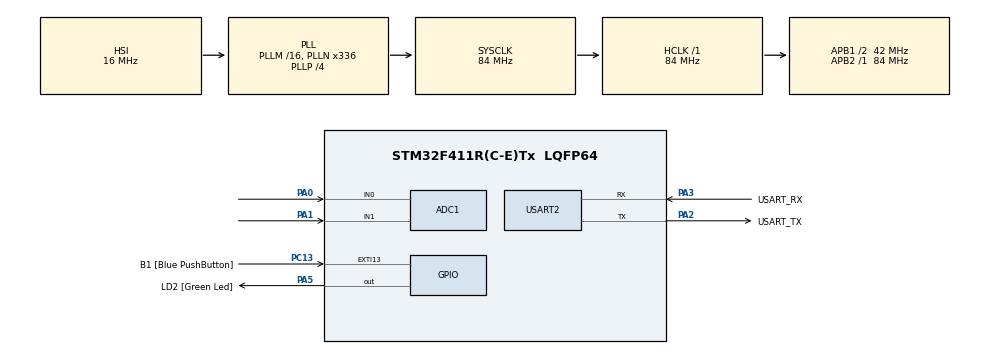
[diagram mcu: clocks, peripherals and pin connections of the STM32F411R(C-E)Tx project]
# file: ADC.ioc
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ADC1.Channel-0\#ChannelRegularConversion=ADC_CHANNEL_0
ADC1.NbrOfConversionFlag=1
ADC1.Rank-0\#ChannelRegularConversion=1
ADC1.SamplingTime-0\#ChannelRegularConversion=ADC_SAMPLETIME_3CYCLES
ADC1.master=1
Mcu.Family=STM32F4
Mcu.Name=STM32F411R(C-E)Tx
Mcu.Package=LQFP64
NVIC.PriorityGroup=NVIC_PRIORITYGROUP_0
PA0-WKUP.Signal=ADCx_IN0
PA1.Signal=ADCx_IN1
PA13.GPIO_Label=TMS
PA13.Mode=Serial_Wire
PA13.Signal=SYS_JTMS-SWDIO
PA14.GPIO_Label=TCK
PA14.Mode=Serial_Wire
PA14.Signal=SYS_JTCK-SWCLK
PA2.GPIO_Label=USART_TX
PA2.Mode=Asynchronous
PA2.Signal=USART2_TX
PA3.GPIO_Label=USART_RX
PA3.Mode=Asynchronous
PA3.Signal=USART2_RX
PA5.GPIO_Label=LD2 [Green Led]
PA5.Signal=GPIO_Output
PB3.GPIO_Label=SWO
PB3.Signal=SYS_JTDO-SWO
PC13-ANTI_TAMP.GPIO_Label=B1 [Blue PushButton]
PC13-ANTI_TAMP.GPIO_ModeDefaultEXTI=GPIO_MODE_IT_FALLING
PC13-ANTI_TAMP.Signal=GPXTI13
PC14-OSC32_IN.Mode=LSE-External-Oscillator
PC14-OSC32_IN.Signal=RCC_OSC32_IN
PC15-OSC32_OUT.Mode=LSE-External-Oscillator
PC15-OSC32_OUT.Signal=RCC_OSC32_OUT
PH0\ -\ OSC_IN.Mode=HSE-External-Clock-Source
PH0\ -\ OSC_IN.Signal=RCC_OSC_IN
PH1\ -\ OSC_OUT.Mode=HSE-External-Clock-Source
PH1\ -\ OSC_OUT.Signal=RCC_OSC_OUT
ProjectManager.HeapSize=0x200
ProjectManager.StackSize=0x400
ProjectManager.TargetToolchain=STM32CubeIDE
RCC.48MHZClocksFreq_Value=84000000
RCC.AHBFreq_Value=84000000
RCC.APB1CLKDivider=RCC_HCLK_DIV2
RCC.APB1Freq_Value=42000000
RCC.APB1TimFreq_Value=84000000
RCC.APB2Freq_Value=84000000
RCC.APB2TimFreq_Value=84000000
RCC.CortexFreq_Value=84000000
RCC.FLatency-AdvancedSettings=FLASH_LATENCY_2
RCC.HCLKFreq_Value=84000000
RCC.HSE_VALUE=8000000
RCC.HSI_VALUE=16000000
RCC.PLLN=336
RCC.PLLP=RCC_PLLP_DIV4
RCC.SYSCLKFreq_VALUE=84000000
RCC.SYSCLKSource=RCC_SYSCLKSOURCE_PLLCLK
RCC.VCOOutputFreq_Value=336000000
SH.ADCx_IN0.0=ADC1_IN0,IN0
SH.ADCx_IN1.0=ADC1_IN1,IN1
USART2.VirtualMode=VM_ASYNC
VP_ADC1_TempSens_Input.Mode=IN-TempSens
board=NUCLEO-F411RE

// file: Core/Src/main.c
/* USER CODE BEGIN Header */
/**
 ******************************************************************************
 * @file           : main.c
 * @brief          : Main program body
 ******************************************************************************
 * @attention
 *
 * <h2><center>&copy; Copyright (c) 2021 STMicroelectronics.
 * All rights reserved.</center></h2>
 *
 * This software component is licensed by ST under BSD 3-Clause license,
 * the "License"; You may not use this file except in compliance with the
 * License. You may obtain a copy of the License at:
 *                        opensource.org/licenses/BSD-3-Clause
 *
 ******************************************************************************
 */
/* USER CODE END Header */
#include "main.h"

ADC_HandleTypeDef hadc1;

UART_HandleTypeDef huart2;

/* USER CODE BEGIN PV */
uint32_t adcdata[2] = { 0 };
GPIO_PinState S1_State[2] = {0};
uint16_t ADCMode = 0;
float ADCOutputConverted = 0;
uint16_t ButtonDelayTime = 0;
uint16_t StateDisplay = 0;
float TempConvertedBitToVol = 0;

enum STATEDISPLAY{
	Mode0 = 0,
	Mode1,

};

typedef struct {
	ADC_ChannelConfTypeDef Config;
	uint16_t data;
} ADCStructure;

ADCStructure ADCChannel[3] = { 0 };

/* USER CODE END PV */

void SystemClock_Config(void);
static void MX_GPIO_Init(void);
static void MX_USART2_UART_Init(void);
static void MX_ADC1_Init(void);
/* USER CODE BEGIN PFP */
void ADCPollingMethodInit();
void ADCPollingMethodUpdate();
/* USER CODE END PFP */

int main(void) {

	/* MCU Configuration--------------------------------------------------------*/

	/* Reset of all peripherals, Initializes the Flash interface and the Systick. */
	HAL_Init();

	/* Configure the system clock */
	SystemClock_Config();

	/* Initialize all configured peripherals */
	MX_GPIO_Init();
	MX_USART2_UART_Init();
	MX_ADC1_Init();
	/* USER CODE BEGIN 2 */
	ADCPollingMethodInit();

	/* USER CODE END 2 */

	/* Infinite loop */
	while (1) {

		/* USER CODE BEGIN 3 */
		if (HAL_GetTick() - ButtonDelayTime >= 100)
		{
			ButtonDelayTime = HAL_GetTick();
			S1_State[0] = HAL_GPIO_ReadPin(GPIOA, GPIO_PIN_9);
			switch (StateDisplay) {
				case Mode0:
					ADCOutputConverted = (3.3/4096)*ADCChannel[0].data*1000;
					if (S1_State[1] == GPIO_PIN_SET && S1_State[0]== GPIO_PIN_RESET)
					{
						StateDisplay = Mode1;
					}

					break;
				case Mode1:
					TempConvertedBitToVol = (3.3/4096)*ADCChannel[2].data*1000;
					if (S1_State[1] == GPIO_PIN_SET && S1_State[0]== GPIO_PIN_RESET)
					{
						StateDisplay = Mode0;
					}
					ADCOutputConverted = ((TempConvertedBitToVol-760)/2.5)+25;
					break;
				default:
					break;
				}
				  S1_State[1] = S1_State[0];
			  }
		ADCPollingMethodUpdate();
	}
	/* USER CODE END 3 */
}

void SystemClock_Config(void) {
	RCC_OscInitTypeDef RCC_OscInitStruct = { 0 };
	RCC_ClkInitTypeDef RCC_ClkInitStruct = { 0 };

	/** Configure the main internal regulator output voltage
	 */
	__HAL_RCC_PWR_CLK_ENABLE();
	__HAL_PWR_VOLTAGESCALING_CONFIG(PWR_REGULATOR_VOLTAGE_SCALE1);
	/** Initializes the RCC Oscillators according to the specified parameters
	 * in the RCC_OscInitTypeDef structure.
	 */
	RCC_OscInitStruct.OscillatorType = RCC_OSCILLATORTYPE_HSI;
	RCC_OscInitStruct.HSIState = RCC_HSI_ON;
	RCC_OscInitStruct.HSICalibrationValue = RCC_HSICALIBRATION_DEFAULT;
	RCC_OscInitStruct.PLL.PLLState = RCC_PLL_ON;
	RCC_OscInitStruct.PLL.PLLSource = RCC_PLLSOURCE_HSI;
	RCC_OscInitStruct.PLL.PLLM = 16;
	RCC_OscInitStruct.PLL.PLLN = 336;
	RCC_OscInitStruct.PLL.PLLP = RCC_PLLP_DIV4;
	RCC_OscInitStruct.PLL.PLLQ = 4;
	if (HAL_RCC_OscConfig(&RCC_OscInitStruct) != HAL_OK) {
		Error_Handler();
	}
	/** Initializes the CPU, AHB and APB buses clocks
	 */
	RCC_ClkInitStruct.ClockType = RCC_CLOCKTYPE_HCLK | RCC_CLOCKTYPE_SYSCLK
			| RCC_CLOCKTYPE_PCLK1 | RCC_CLOCKTYPE_PCLK2;
	RCC_ClkInitStruct.SYSCLKSource = RCC_SYSCLKSOURCE_PLLCLK;
	RCC_ClkInitStruct.AHBCLKDivider = RCC_SYSCLK_DIV1;
	RCC_ClkInitStruct.APB1CLKDivider = RCC_HCLK_DIV2;
	RCC_ClkInitStruct.APB2CLKDivider = RCC_HCLK_DIV1;

	if (HAL_RCC_ClockConfig(&RCC_ClkInitStruct, FLASH_LATENCY_2) != HAL_OK) {
		Error_Handler();
	}
}

static void MX_ADC1_Init(void) {

	ADC_ChannelConfTypeDef sConfig = { 0 };

	/** Configure the global features of the ADC (Clock, Resolution, Data Alignment and number of conversion)
	 */
	hadc1.Instance = ADC1;
	hadc1.Init.ClockPrescaler = ADC_CLOCK_SYNC_PCLK_DIV4;
	hadc1.Init.Resolution = ADC_RESOLUTION_12B;
	hadc1.Init.ScanConvMode = DISABLE;
	hadc1.Init.ContinuousConvMode = DISABLE;
	hadc1.Init.DiscontinuousConvMode = DISABLE;
	hadc1.Init.ExternalTrigConvEdge = ADC_EXTERNALTRIGCONVEDGE_NONE;
	hadc1.Init.ExternalTrigConv = ADC_SOFTWARE_START;
	hadc1.Init.DataAlign = ADC_DATAALIGN_RIGHT;
	hadc1.Init.NbrOfConversion = 1;
	hadc1.Init.DMAContinuousRequests = DISABLE;
	hadc1.Init.EOCSelection = ADC_EOC_SINGLE_CONV;
	if (HAL_ADC_Init(&hadc1) != HAL_OK) {
		Error_Handler();
	}
	/** Configure for the selected ADC regular channel its corresponding rank in the sequencer and its sample time.
	 */
	sConfig.Channel = ADC_CHANNEL_0;
	sConfig.Rank = 1;
	sConfig.SamplingTime = ADC_SAMPLETIME_3CYCLES;
	if (HAL_ADC_ConfigChannel(&hadc1, &sConfig) != HAL_OK) {
		Error_Handler();
	}

}

static void MX_USART2_UART_Init(void) {

	huart2.Instance = USART2;
	huart2.Init.BaudRate = 115200;
	huart2.Init.WordLength = UART_WORDLENGTH_8B;
	huart2.Init.StopBits = UART_STOPBITS_1;
	huart2.Init.Parity = UART_PARITY_NONE;
	huart2.Init.Mode = UART_MODE_TX_RX;
	huart2.Init.HwFlowCtl = UART_HWCONTROL_NONE;
	huart2.Init.OverSampling = UART_OVERSAMPLING_16;
	if (HAL_UART_Init(&huart2) != HAL_OK) {
		Error_Handler();
	}

}

static void MX_GPIO_Init(void) {
	GPIO_InitTypeDef GPIO_InitStruct = { 0 };

	/* GPIO Ports Clock Enable */
	__HAL_RCC_GPIOC_CLK_ENABLE();
	__HAL_RCC_GPIOH_CLK_ENABLE();
	__HAL_RCC_GPIOA_CLK_ENABLE();
	__HAL_RCC_GPIOB_CLK_ENABLE();

	/*Configure GPIO pin Output Level */
	HAL_GPIO_WritePin(LD2_GPIO_Port, LD2_Pin, GPIO_PIN_RESET);

	/*Configure GPIO pin : B1_Pin */
	GPIO_InitStruct.Pin = B1_Pin;
	GPIO_InitStruct.Mode = GPIO_MODE_IT_FALLING;
	GPIO_InitStruct.Pull = GPIO_NOPULL;
	HAL_GPIO_Init(B1_GPIO_Port, &GPIO_InitStruct);

	/*Configure GPIO pin : LD2_Pin */
	GPIO_InitStruct.Pin = LD2_Pin;
	GPIO_InitStruct.Mode = GPIO_MODE_OUTPUT_PP;
	GPIO_InitStruct.Pull = GPIO_NOPULL;
	GPIO_InitStruct.Speed = GPIO_SPEED_FREQ_LOW;
	HAL_GPIO_Init(LD2_GPIO_Port, &GPIO_InitStruct);

}

/* USER CODE BEGIN 4 */
void ADCPollingMethodInit() {
	//config all ADC Channel
	ADCChannel[0].Config.Channel = ADC_CHANNEL_0;
	ADCChannel[0].Config.Rank = 1;
	ADCChannel[0].Config.SamplingTime = ADC_SAMPLETIME_3CYCLES;

	ADCChannel[1].Config.Channel = ADC_CHANNEL_1;
	ADCChannel[1].Config.Rank = 1;
	ADCChannel[1].Config.SamplingTime = ADC_SAMPLETIME_3CYCLES;

	ADCChannel[2].Config.Channel = ADC_CHANNEL_TEMPSENSOR;
	ADCChannel[2].Config.Rank = 1;
	ADCChannel[2].Config.SamplingTime = ADC_SAMPLETIME_3CYCLES;
}
//Polling Method
void ADCPollingMethodUpdate() {
	//Read all 3 Channel
	for (int i = 0; i < 3; i++) {
		HAL_ADC_ConfigChannel(&hadc1, &ADCChannel[i].Config);
		HAL_ADC_Start(&hadc1);
		HAL_ADC_PollForConversion(&hadc1, 10);
		ADCChannel[i].data = HAL_ADC_GetValue(&hadc1);
		HAL_ADC_Stop(&hadc1);
	}
}
/* USER CODE END 4 */

void Error_Handler(void) {
	__disable_irq();
	while (1) {
	}
}

/************************ (C) COPYRIGHT STMicroelectronics *****END OF FILE****/
